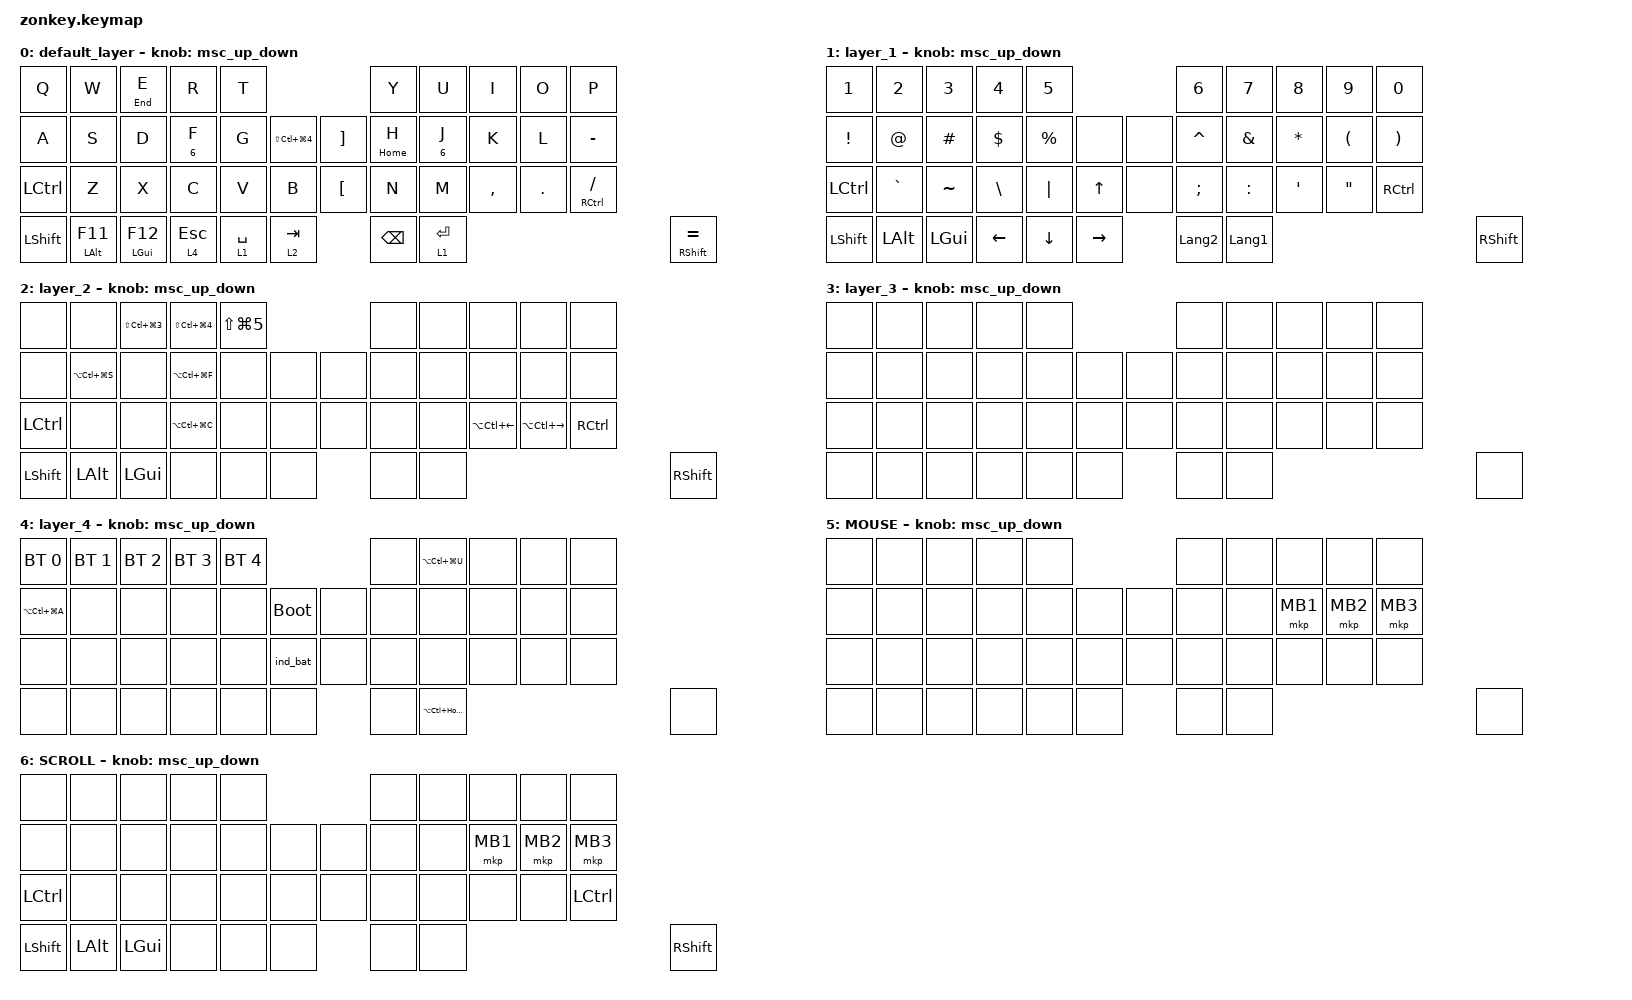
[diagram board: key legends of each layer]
#include <input/processors.dtsi>
#include <behaviors/rgbled_widget.dtsi>
#include <behaviors.dtsi>
#include <dt-bindings/zmk/bt.h>
#include <dt-bindings/zmk/keys.h>
#include <dt-bindings/zmk/pointing.h>

#define ZMK_POINTING_DEFAULT_SCRL_VAL 100
#define JP_DQUOTE       AT                // "

&mt {
    flavor = "balanced";
    quick-tap-ms = <0>;
};

&mkp_input_listener { input-processors = <&zip_temp_layer 5 800>; };

/ {
    combos { compatible = "zmk,combos"; };

    macros {
        to_L0: to_L0 {
            compatible = "zmk,behavior-macro-one-param";
            label = "TO_L0";
            #binding-cells = <1>;
            bindings =
                <&macro_press>,
                <&macro_param_1to1 &mo MACRO_PLACEHOLDER>,
                <&macro_pause_for_release>,
                <&to 0>;
        };
    };

    behaviors {
        msc_up_down: msc_up_down {
            compatible = "zmk,behavior-sensor-rotate";
            label = "MSC_UP_DOWN";
            #sensor-binding-cells = <0>;
            bindings = <&msc SCRL_DOWN>, <&msc SCRL_UP>;

            tap-ms = <20>;
        };

        lt_to_L0: lt_to_L0 {
            compatible = "zmk,behavior-hold-tap";
            label = "LT_TO_L0";
            #binding-cells = <2>;
            bindings = <&to_L0>, <&kp>;

            tapping-term-ms = <200>;
        };
    };

    keymap {
        compatible = "zmk,keymap";

        default_layer {
            bindings = <
&kp Q             &kp W             &mt END E         &kp R          &kp T                                                       &kp Y          &kp U          &kp I      &kp O    &kp P
&kp A             &kp S             &kp D             &lt_to_L0 6 F  &kp G        &kp LS(LC(LG(NUMBER_4)))    &kp RIGHT_BRACKET  &mt HOME H     &lt_to_L0 6 J  &kp K      &kp L    &kp MINUS
&kp LEFT_CONTROL  &kp Z             &kp X             &kp C          &kp V        &kp B                       &kp LEFT_BRACKET   &kp N          &kp M          &kp COMMA  &kp DOT  &mt RIGHT_CONTROL SLASH
&kp LEFT_SHIFT    &mt LEFT_ALT F11  &mt LEFT_GUI F12  &lt 4 ESCAPE   &lt 1 SPACE  &lt 2 TAB                                      &kp BACKSPACE  &lt 1 ENTER                                                 &mt RIGHT_SHIFT EQUAL
            >;

            sensor-bindings = <&msc_up_down>;
        };

        layer_1 {
            bindings = <
&kp N1            &kp N2        &kp N3        &kp N4          &kp N5                                    &kp N6          &kp N7          &kp N8            &kp N9                &kp N0
&kp EXCLAMATION   &kp AT_SIGN   &kp HASH      &kp DOLLAR      &kp PERCENT     &none              &none  &kp CARET       &kp AMPERSAND   &kp ASTERISK      &kp LEFT_PARENTHESIS  &kp RIGHT_PARENTHESIS
&kp LEFT_CONTROL  &kp GRAVE     &kp TILDE     &kp BACKSLASH   &kp PIPE        &kp UP_ARROW       &none  &kp SEMICOLON   &kp COLON       &kp SINGLE_QUOTE  &kp DOUBLE_QUOTES     &kp RIGHT_CONTROL
&kp LEFT_SHIFT    &kp LEFT_ALT  &kp LEFT_GUI  &kp LEFT_ARROW  &kp DOWN_ARROW  &kp RIGHT_ARROW           &kp LANGUAGE_2  &kp LANGUAGE_1                                                                 &kp RIGHT_SHIFT
            >;

            sensor-bindings = <&msc_up_down>;
        };

        layer_2 {
            bindings = <
&none             &none              &kp LS(LC(LG(NUMBER_3)))  &kp LS(LC(LG(NUMBER_4)))  &kp LS(LG(NUMBER_5))                  &none  &none  &none                   &none                    &none
&none             &kp LA(LC(LG(S)))  &none                     &kp LA(LC(LG(F)))         &none                 &none    &none  &none  &none  &none                   &none                    &none
&kp LEFT_CONTROL  &none              &none                     &kp LA(LC(LG(C)))         &none                 &none    &none  &none  &none  &kp LA(LC(LEFT_ARROW))  &kp LA(LC(RIGHT_ARROW))  &kp RIGHT_CONTROL
&kp LEFT_SHIFT    &kp LEFT_ALT       &kp LEFT_GUI              &none                     &none                 &none           &none  &none                                                                      &kp RIGHT_SHIFT
            >;

            sensor-bindings = <&msc_up_down>;
        };

        layer_3 {
            bindings = <
&none  &none  &none  &none  &none                  &none  &none  &none  &none  &none
&none  &none  &none  &none  &none  &none    &none  &none  &none  &none  &none  &none
&none  &none  &none  &none  &none  &none    &none  &none  &none  &none  &none  &none
&none  &none  &none  &none  &none  &none           &none  &none                       &none
            >;

            sensor-bindings = <&msc_up_down>;
        };

        layer_4 {
            bindings = <
&bt BT_SEL 0       &bt BT_SEL 1  &bt BT_SEL 2  &bt BT_SEL 3  &bt BT_SEL 4                        &none  &kp LA(LC(LG(U)))  &none  &none  &none
&kp LA(LC(LG(A)))  &none         &none         &none         &none         &bootloader    &none  &none  &none              &none  &none  &none
&none              &none         &none         &none         &none         &ind_bat       &none  &none  &none              &none  &none  &none
&none              &none         &none         &none         &none         &none                 &none  &kp LA(LC(HOME))                        &none
            >;

            sensor-bindings = <&msc_up_down>;
        };

        MOUSE {
            bindings = <
&none  &none  &none  &none  &none                  &none  &none  &none     &none     &none
&none  &none  &none  &none  &none  &none    &none  &none  &none  &mkp MB1  &mkp MB2  &mkp MB3
&none  &none  &none  &none  &none  &none    &none  &none  &none  &none     &none     &none
&none  &none  &none  &none  &none  &none           &none  &none                                &none
            >;

            sensor-bindings = <&msc_up_down>;
        };

        SCROLL {
            bindings = <
&none             &none         &none         &none  &none                  &none  &none  &none     &none     &none
&none             &none         &none         &none  &none  &none    &none  &none  &none  &mkp MB1  &mkp MB2  &mkp MB3
&kp LEFT_CONTROL  &none         &none         &none  &none  &none    &none  &none  &none  &none     &none     &kp LEFT_CONTROL
&kp LEFT_SHIFT    &kp LEFT_ALT  &kp LEFT_GUI  &none  &none  &none           &none  &none                                        &kp RIGHT_SHIFT
            >;

            sensor-bindings = <&msc_up_down>;
        };
    };
};
